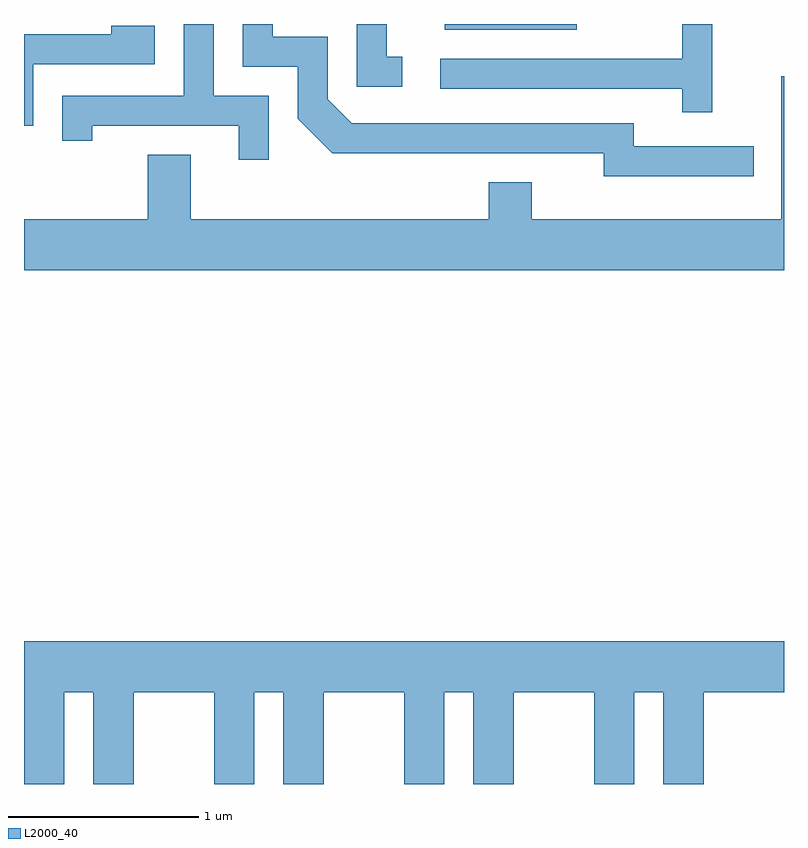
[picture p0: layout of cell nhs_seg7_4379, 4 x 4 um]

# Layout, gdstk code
import gdstk
lib = gdstk.Library(unit=1e-6, precision=1e-09)
def R(c, l, rs):  # rectangles x0, y0, x1, y1
    for r in rs: c.add(gdstk.rectangle(r[:2], r[2:], *l))
def P(c, l, *ps):  # polygons
    for p in ps: c.add(gdstk.Polygon(p, *l))
L2000_40 = (2000, 40)

nhs_seg7_4379 = lib.new_cell('nhs_seg7_4379')
R(nhs_seg7_4379, L2000_40, [(321.826,1742.221,322.519,1742.252)])
P(nhs_seg7_4379, L2000_40, [(321.603,1742.079),(321.519,1742.079),(321.519,1742.252),(321.361,1742.252),(321.361,1741.921),(321.603,1741.921)],
  [(323.453,1741.609),(322.819,1741.609),(322.819,1741.729),(321.337,1741.729),(321.209,1741.857),(321.209,1742.184),(320.919,1742.184),(320.919,1742.252),(320.761,1742.252),(320.761,1742.026),(321.051,1742.026),(321.051,1741.754),(321.234,1741.571),(322.661,1741.571),(322.661,1741.451),(323.453,1741.451)],
  [(323.234,1742.252),(323.076,1742.252),(323.076,1742.069),(321.803,1742.069),(321.803,1741.911),(323.076,1741.911),(323.076,1741.788),(323.234,1741.788)],
  [(320.899,1741.874),(320.609,1741.874),(320.609,1742.252),(320.451,1742.252),(320.451,1741.874),(319.811,1741.874),(319.811,1741.638),(319.969,1741.638),(319.969,1741.716),(320.741,1741.716),(320.741,1741.538),(320.899,1741.538)],
  [(319.659,1742.041),(320.299,1742.041),(320.299,1742.244),(320.071,1742.244),(320.071,1742.199),(319.611,1742.199),(319.611,1741.716),(319.659,1741.716)],
  [(323.611,1741.978),(323.596,1741.978),(323.596,1741.224),(322.284,1741.224),(322.284,1741.419),(322.056,1741.419),(322.056,1741.224),(320.489,1741.224),(320.489,1741.564),(320.261,1741.564),(320.261,1741.224),(319.611,1741.224),(319.611,1740.956),(323.611,1740.956)],
  [(319.824,1738.736),(319.976,1738.736),(319.976,1738.252),(320.189,1738.252),(320.189,1738.736),(320.611,1738.736),(320.611,1738.252),(320.824,1738.252),(320.824,1738.736),(320.976,1738.736),(320.976,1738.252),(321.189,1738.252),(321.189,1738.736),(321.611,1738.736),(321.611,1738.252),(321.824,1738.252),(321.824,1738.736),(321.976,1738.736),(321.976,1738.252),(322.189,1738.252),(322.189,1738.736),(322.611,1738.736),(322.611,1738.252),(322.824,1738.252),(322.824,1738.736),(322.976,1738.736),(322.976,1738.252),(323.189,1738.252),(323.189,1738.736),(323.611,1738.736),(323.611,1739.004),(319.611,1739.004),(319.611,1738.252),(319.824,1738.252)])

lib.write_gds('nhs_seg7_4379.gds')
